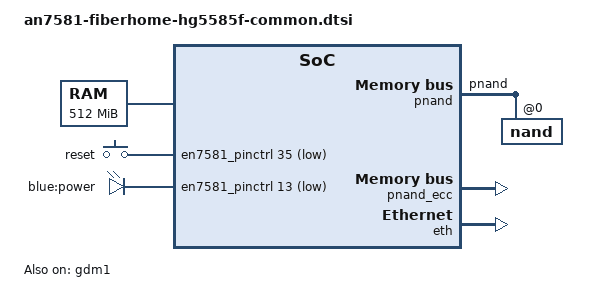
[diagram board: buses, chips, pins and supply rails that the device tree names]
// SPDX-License-Identifier: (GPL-2.0-only OR BSD-2-Clause)

/* BL2 and TF-A reserve the first 2 MiB of DRAM. */
/memreserve/ 0x80000000 0x200000;

#include <dt-bindings/gpio/gpio.h>
#include <dt-bindings/input/input.h>
#include "en7581.dtsi"

/ {
	aliases {
		serial0 = &uart1;
	};

	chosen {
		stdout-path = "serial0:115200n8";
	};

	memory@80000000 {
		device_type = "memory";
		reg = <0x0 0x80000000 0x0 0x20000000>;
	};

	keys {
		compatible = "gpio-keys";

		key-reset {
			label = "reset";
			linux,code = <KEY_RESTART>;
			/* GPIO_DATA1 bit 3 maps to the active-low GPIO35 reset key. */
			gpios = <&en7581_pinctrl 35 GPIO_ACTIVE_LOW>;
		};
	};

	leds {
		compatible = "gpio-leds";

		led-power {
			label = "blue:power";
			gpios = <&en7581_pinctrl 13 GPIO_ACTIVE_LOW>;
			default-state = "keep";
		};
	};
};

&en7581_pinctrl {
	gpio-ranges = <&en7581_pinctrl 0 13 50>;

	pnand_pins: pnand-pins {
		mux {
			function = "pnand";
			groups = "pnand";
		};
	};
};

&{/soc} {
	/delete-node/ spi@1fa10000;

	pnand: nand-controller@1fa11000 {
		compatible = "airoha,en7581-nfc";
		reg = <0x0 0x1fa11000 0x0 0x600>;
		/*
		 * EN7581 parallel NFI is clocked by the APB bus clock (150 MHz),
		 * not the SPI clock. The DE-approved ACCCON timing assumes this
		 * 150 MHz reference; EN7523_CLK_SPI (10 MHz default) is wrong.
		 */
		clocks = <&scuclk EN7523_CLK_BUS>;
		clock-names = "nfi_clk";
		pinctrl-names = "default";
		pinctrl-0 = <&pnand_pins>;
		nand-ecc-engine = <&pnand_ecc>;
		status = "okay";

		#address-cells = <1>;
		#size-cells = <0>;

		nand@0 {
			reg = <0>;
			nand-bus-width = <8>;
			/* Syndrome mode describes the interleaved FDM/BCH page layout. */
			nand-ecc-mode = "hw_syndrome";
		};
	};

	pnand_ecc: ecc@1fa12000 {
		compatible = "airoha,en7581-nand-ecc";
		reg = <0x0 0x1fa12000 0x0 0x400>;
		status = "okay";
	};
};

&eth {
	status = "okay";
};

&gdm1 {
	status = "okay";
};
